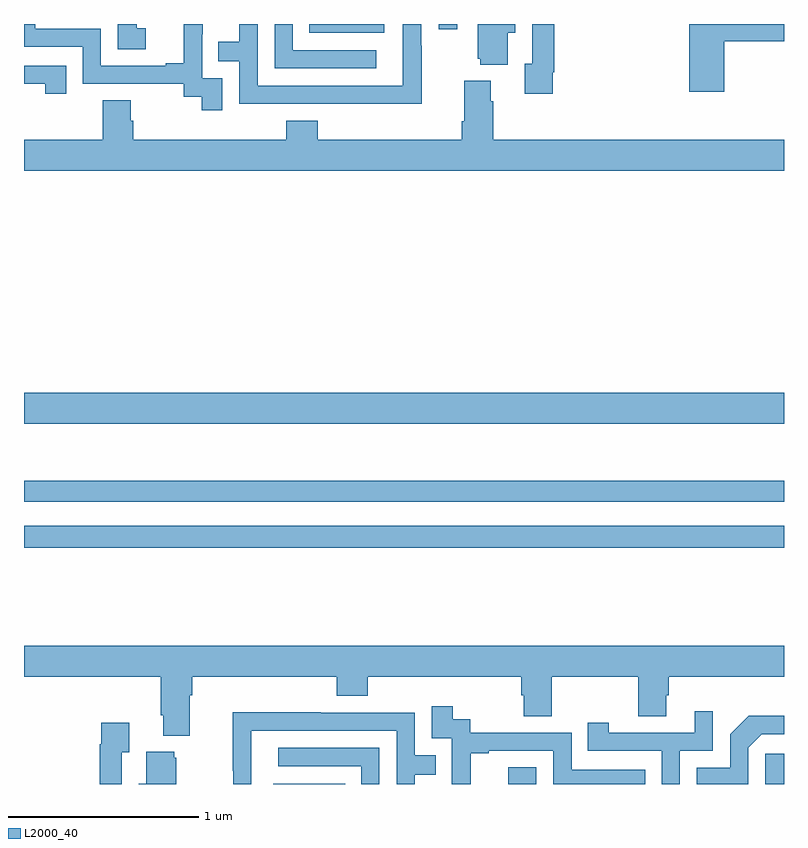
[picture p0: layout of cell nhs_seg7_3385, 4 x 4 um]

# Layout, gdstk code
import gdstk
lib = gdstk.Library(unit=1e-6, precision=1e-09)
def R(c, l, rs):  # rectangles x0, y0, x1, y1
    for r in rs: c.add(gdstk.rectangle(r[:2], r[2:], *l))
def P(c, l, *ps):  # polygons
    for p in ps: c.add(gdstk.Polygon(p, *l))
L2000_40 = (2000, 40)

nhs_seg7_3385 = lib.new_cell('nhs_seg7_3385')
R(nhs_seg7_3385, L2000_40, [(326.312,1052,326.69,1052.002), (327.549,1052,327.696,1052.089), (328.902,1052,329,1052.158), (325,1053.244,329,1053.36), (325,1053.486,329,1053.595), (325,1053.896,329,1054.06), (326.5,1055.954,326.896,1056), (327.183,1055.973,327.279,1056)])
P(nhs_seg7_3385, L2000_40, [(327.547,1055.954),(327.586,1055.954),(327.586,1056),(327.389,1056),(327.389,1055.817),(327.401,1055.817),(327.401,1055.786),(327.547,1055.786)],
  [(326.854,1055.862),(326.415,1055.862),(326.415,1056),(326.319,1056),(326.319,1055.766),(326.854,1055.766)],
  [(325.642,1055.977),(325.593,1055.977),(325.593,1056),(325.494,1056),(325.494,1055.868),(325.642,1055.868)],
  [(326.043,1055.715),(325.938,1055.715),(325.938,1055.945),(325.94,1055.945),(325.94,1056),(325.841,1056),(325.841,1055.794),(325.745,1055.794),(325.745,1055.781),(325.404,1055.781),(325.404,1055.976),(325.059,1055.976),(325.059,1056),(325,1056),(325,1055.88),(325.308,1055.88),(325.308,1055.685),(325.842,1055.685),(325.842,1055.617),(325.935,1055.617),(325.935,1055.547),(326.043,1055.547)],
  [(327.093,1055.885),(327.09,1055.885),(327.09,1056),(326.994,1056),(326.994,1055.93),(326.993,1055.93),(326.993,1055.676),(326.229,1055.676),(326.229,1056),(326.133,1056),(326.133,1055.906),(326.023,1055.906),(326.023,1055.805),(326.133,1055.805),(326.133,1055.58),(326.629,1055.58),(326.629,1055.579),(327.093,1055.579)],
  [(328.685,1055.908),(329,1055.908),(329,1056),(328.502,1056),(328.502,1055.643),(328.685,1055.643)],
  [(327.784,1055.746),(327.791,1055.746),(327.791,1056),(327.675,1056),(327.675,1055.79),(327.635,1055.79),(327.635,1055.634),(327.784,1055.634)],
  [(325.223,1055.781),(325,1055.781),(325,1055.685),(325.112,1055.685),(325.112,1055.634),(325.223,1055.634)],
  [(329,1055.392),(327.47,1055.392),(327.47,1055.594),(327.457,1055.594),(327.457,1055.701),(327.317,1055.701),(327.317,1055.488),(327.305,1055.488),(327.305,1055.392),(326.546,1055.392),(326.546,1055.491),(326.381,1055.491),(326.381,1055.392),(325.574,1055.392),(325.574,1055.49),(325.561,1055.49),(325.561,1055.6),(325.414,1055.6),(325.414,1055.392),(325,1055.392),(325,1055.228),(329,1055.228)],
  [(325.873,1052.468),(325.886,1052.468),(325.886,1052.564),(326.645,1052.564),(326.645,1052.465),(326.81,1052.465),(326.81,1052.564),(327.617,1052.564),(327.617,1052.466),(327.629,1052.466),(327.629,1052.356),(327.777,1052.356),(327.777,1052.564),(328.234,1052.564),(328.234,1052.356),(328.381,1052.356),(328.381,1052.466),(328.394,1052.466),(328.394,1052.564),(329,1052.564),(329,1052.728),(325,1052.728),(325,1052.564),(325.721,1052.564),(325.721,1052.362),(325.733,1052.362),(325.733,1052.255),(325.873,1052.255)],
  [(327.35,1052.163),(327.445,1052.163),(327.445,1052.175),(327.786,1052.175),(327.786,1052),(328.271,1052),(328.271,1052.076),(327.882,1052.076),(327.882,1052.271),(327.348,1052.271),(327.348,1052.34),(327.256,1052.34),(327.256,1052.41),(327.147,1052.41),(327.147,1052.241),(327.252,1052.241),(327.252,1052.012),(327.251,1052.012),(327.251,1052),(327.35,1052)],
  [(328.452,1052.175),(328.626,1052.175),(328.626,1052.383),(328.529,1052.383),(328.529,1052.271),(328.078,1052.271),(328.078,1052.323),(327.967,1052.323),(327.967,1052.175),(328.356,1052.175),(328.356,1052),(328.452,1052)],
  [(326.196,1052.28),(326.961,1052.28),(326.961,1052),(327.057,1052),(327.057,1052.05),(327.167,1052.05),(327.167,1052.151),(327.057,1052.151),(327.057,1052.376),(326.561,1052.376),(326.561,1052.378),(326.098,1052.378),(326.098,1052.071),(326.1,1052.071),(326.1,1052),(326.196,1052)],
  [(328.812,1052.19),(328.884,1052.262),(329,1052.262),(329,1052.36),(328.814,1052.36),(328.716,1052.262),(328.716,1052.085),(328.542,1052.085),(328.542,1052),(328.812,1052)],
  [(325.515,1052.167),(325.555,1052.167),(325.555,1052.323),(325.407,1052.323),(325.407,1052.21),(325.399,1052.21),(325.399,1052),(325.515,1052)],
  [(326.871,1052.19),(326.337,1052.19),(326.337,1052.094),(326.775,1052.094),(326.775,1052),(326.871,1052)],
  [(325.801,1052.139),(325.79,1052.139),(325.79,1052.17),(325.643,1052.17),(325.643,1052.002),(325.604,1052.002),(325.604,1052),(325.801,1052)])

lib.write_gds('nhs_seg7_3385.gds')
